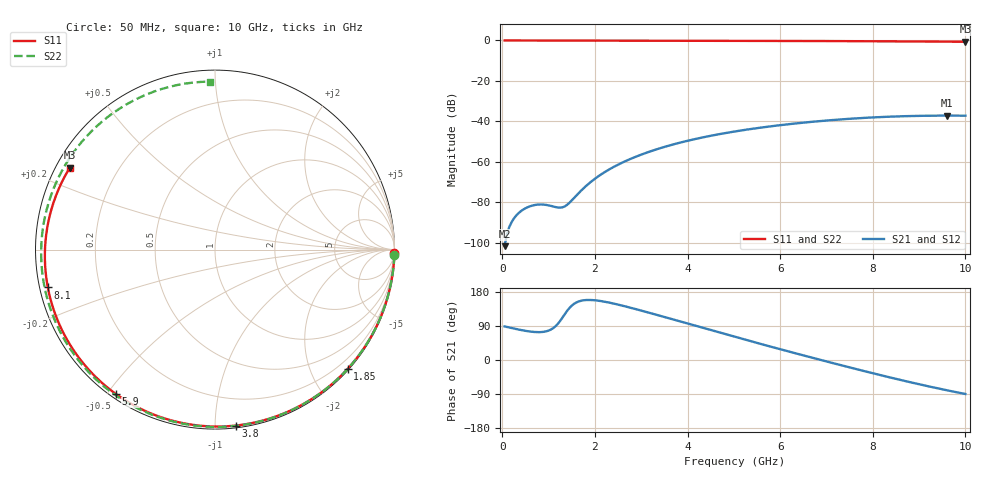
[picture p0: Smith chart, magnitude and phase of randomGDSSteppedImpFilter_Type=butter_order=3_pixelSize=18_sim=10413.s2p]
! freq	dB(S11)	phase(S11)	dB(S12)	phase(S12)
!  dB(S21)	phase(S21)	dB(S22)	phase(S22)
!S-par simulation data
#  GHz  S  DB  R 50
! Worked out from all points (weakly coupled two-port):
!   200 points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, 50 MHz to 10 GHz, reference 50 ohm
!   highest |S21| = -37.20 dB at 9.6 GHz (marker M1); lowest = -101.8 dB at 50 MHz (marker M2)
!   lowest |S11| = -0.6 dB at 10 GHz (marker M3), VSWR 27.13, Z = 1.97 + j13.1 ohm
!   |S11| at or under -10 dB: nowhere
!   |S22| runs from -0.6 to 0.0 dB; largest |S21 - S12| = 0
!   S11 on the Smith chart (normalised r, x): 50 MHz: 0, -98; 1.85 GHz: 0.02, -2.60; 3.8 GHz: 0.01, -1.12; 5.9 GHz: 0.02, -0.53; 8.1 GHz: 0.02, -0.11; 10 GHz: 0.04, +0.26
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0.05  -0.00 -1.2  -101.81 88.6  -101.81 88.6  -0.00 -1.8
0.35  -0.01 -8.1  -85.49 80.4  -85.49 80.4  -0.02 -12.4
0.7  -0.02 -16.1  -81.45 73.9  -81.45 73.9  -0.03 -24.6
1.1  -0.03 -25.2  -82.18 84.1  -82.18 84.1  -0.05 -38.4
1.45  -0.04 -33.1  -80.33 137.3  -80.33 137.3  -0.06 -50.0
1.75  -0.05 -39.8  -73.26 157.5  -73.26 157.5  -0.07 -59.7
1.85  -0.05 -42.0  -71.19 158.4  -71.19 158.4  -0.08 -62.9
2.15  -0.06 -48.6  -66.06 155.1  -66.06 155.1  -0.09 -72.3
2.5  -0.07 -56.2  -61.47 146.2  -61.47 146.2  -0.10 -82.8
2.9  -0.08 -64.7  -57.39 133.7  -57.39 133.7  -0.11 -94.3
3.4  -0.10 -75.1  -53.39 116.9  -53.39 116.9  -0.13 -108.0
3.8  -0.11 -83.3  -50.80 103.1  -50.80 103.1  -0.14 -118.5
4.45  -0.14 -96.3  -47.41 80.7  -47.41 80.7  -0.17 -134.7
5.05  -0.16 -108.1  -44.94 60.2  -44.94 60.2  -0.20 -149.0
5.9  -0.21 -124.4  -42.20 31.8  -42.20 31.8  -0.25 -168.5
6.7  -0.27 -139.7  -40.24 5.8  -40.24 5.8  -0.30 173.4
7.4  -0.33 -153.3  -38.92 -16.4  -38.92 -16.4  -0.35 157.5
8.1  -0.40 -167.3  -37.98 -37.9  -37.98 -37.9  -0.40 141.0
8.35  -0.43 -172.4  -37.74 -45.4  -37.74 -45.4  -0.42 135.0
9  -0.51 173.8  -37.32 -64.0  -37.32 -64.0  -0.48 118.7
9.6  -0.58 160.2  -37.20 -79.9  -37.20 -79.9  -0.53 102.9
10  -0.64 150.6  -37.24 -89.7  -37.24 -89.7  -0.57 91.8
